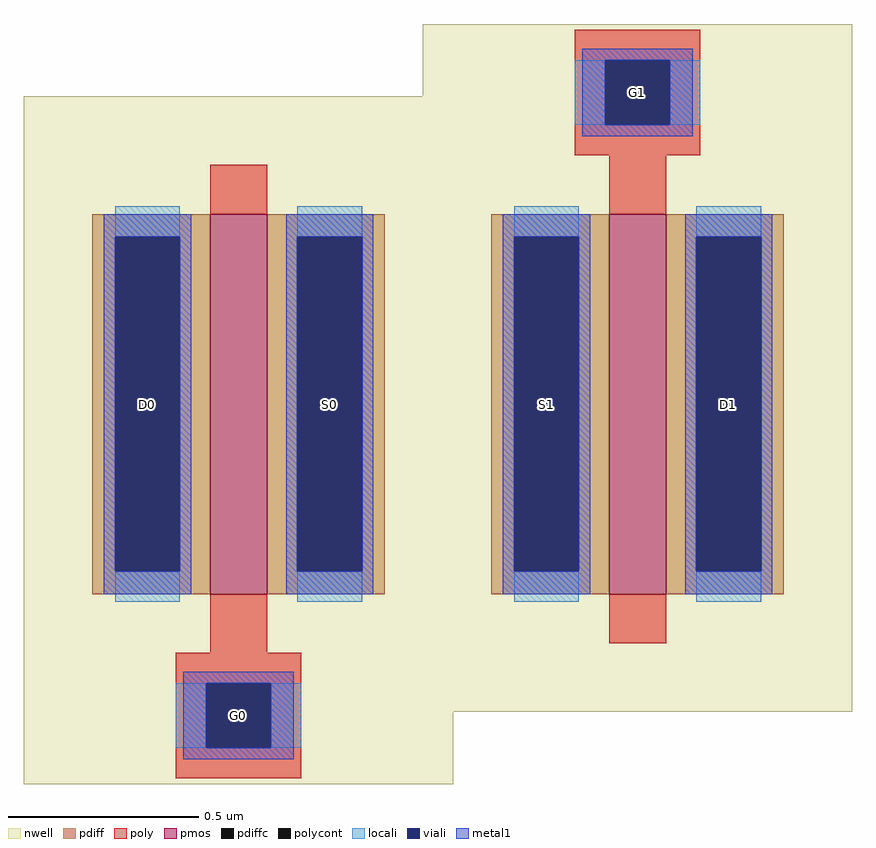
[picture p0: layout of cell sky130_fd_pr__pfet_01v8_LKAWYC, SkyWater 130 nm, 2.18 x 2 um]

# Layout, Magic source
magic
tech sky130A
magscale 1 2
<< nwell >>
rect -8 162 218 200
rect -218 -162 218 162
rect -218 -200 8 -162
<< pmos >>
rect -120 -100 -90 100
rect 90 -100 120 100
<< pdiff >>
rect -182 88 -120 100
rect -182 -88 -170 88
rect -136 -88 -120 88
rect -182 -100 -120 -88
rect -90 88 -28 100
rect -90 -88 -74 88
rect -40 -88 -28 88
rect -90 -100 -28 -88
rect 28 88 90 100
rect 28 -88 40 88
rect 74 -88 90 88
rect 28 -100 90 -88
rect 120 88 182 100
rect 120 -88 136 88
rect 170 -88 182 88
rect 120 -100 182 -88
<< pdiffc >>
rect -170 -88 -136 88
rect -74 -88 -40 88
rect 40 -88 74 88
rect 136 -88 170 88
<< poly >>
rect 72 181 138 197
rect 72 147 88 181
rect 122 147 138 181
rect 72 131 138 147
rect -120 100 -90 126
rect 90 100 120 131
rect -120 -131 -90 -100
rect 90 -126 120 -100
rect -138 -147 -72 -131
rect -138 -181 -122 -147
rect -88 -181 -72 -147
rect -138 -197 -72 -181
<< polycont >>
rect 88 147 122 181
rect -122 -181 -88 -147
<< locali >>
rect 72 147 88 181
rect 122 147 138 181
rect -170 88 -136 104
rect -170 -104 -136 -88
rect -74 88 -40 104
rect -74 -104 -40 -88
rect 40 88 74 104
rect 40 -104 74 -88
rect 136 88 170 104
rect 136 -104 170 -88
rect -138 -181 -122 -147
rect -88 -181 -72 -147
<< viali >>
rect 88 147 122 181
rect -170 -88 -136 88
rect -74 -88 -40 88
rect 40 -88 74 88
rect 136 -88 170 88
rect -122 -181 -88 -147
<< metal1 >>
rect 76 181 134 187
rect 76 147 88 181
rect 122 147 134 181
rect 76 141 134 147
rect -176 88 -130 100
rect -176 -88 -170 88
rect -136 -88 -130 88
rect -176 -100 -130 -88
rect -80 88 -34 100
rect -80 -88 -74 88
rect -40 -88 -34 88
rect -80 -100 -34 -88
rect 34 88 80 100
rect 34 -88 40 88
rect 74 -88 80 88
rect 34 -100 80 -88
rect 130 88 176 100
rect 130 -88 136 88
rect 170 -88 176 88
rect 130 -100 176 -88
rect -134 -147 -76 -141
rect -134 -181 -122 -147
rect -88 -181 -76 -147
rect -134 -187 -76 -181
<< labels >>
rlabel pdiffc -153 0 -153 0 0 D0
port 1 nsew
rlabel pdiffc -57 0 -57 0 0 S0
port 2 nsew
rlabel polycont -105 -164 -105 -164 0 G0
port 3 nsew
rlabel pdiffc 153 0 153 0 0 D1
port 4 nsew
rlabel pdiffc 57 0 57 0 0 S1
port 5 nsew
rlabel polycont 105 164 105 164 0 G1
port 6 nsew
<< properties >>
string gencell sky130_fd_pr__pfet_01v8
string library sky130
string parameters w 1 l 0.15 m 1 nf 2 diffcov 100 polycov 100 guard 0 glc 1 grc 1 gtc 1 gbc 1 tbcov 100 rlcov 100 topc 1 botc 1 poverlap 0 doverlap 0 lmin 0.15 wmin 0.42 class mosfet compatible {sky130_fd_pr__pfet_01v8  sky130_fd_pr__pfet_01v8_lvt sky130_fd_pr__pfet_01v8_hvt  sky130_fd_pr__pfet_g5v0d10v5} full_metal 1 conn_gates 0 viasrc 100 viadrn 100 viagate 100 viagb 0 viagr 0 viagl 0 viagt 0 doports 1
<< end >>
